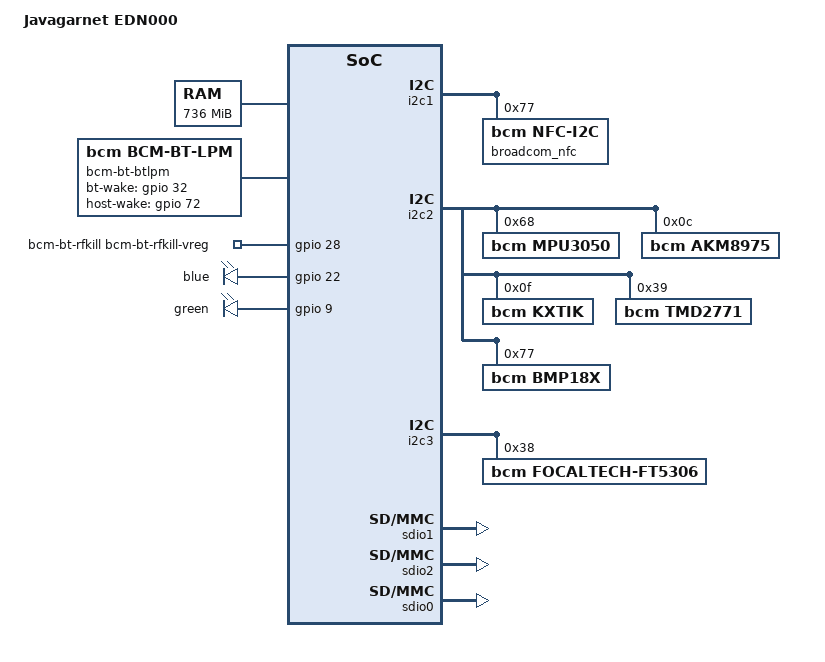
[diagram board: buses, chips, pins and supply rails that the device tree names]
/* Java_garet_edn000 Dts file */

/dts-v1/;

/include/ "java.dtsi"
/include/ "java_garnet_bcmpmu_edn000.dtsi"

/ {
	model = "Javagarnet EDN000";
	compatible = "bcm,java";

	chosen {
		bootargs = "console=ttyS0,115200n8 mem=992M gpt androidboot.console=ttyS0 crash_ramdump=1 logbuf_nocache=1";
	};

	memory@82000000 {
		device_type = "memory";
		reg = <0x82000000 0x2e000000>; /* 736 MB */
	};

	wd-tapper {
		count = <300>; /* Time in seconds */
		ch-num = <1>; /* Kona hub timer Channel number */
		timer-name = "aon-timer";
	};

	usb-phy@0x3F130000 {
		interrupts = <0 128 0x04>;
		chipreg-virtual-mem-base = <0x35004000>;
		usb-ahb-clk-name = "usb_otg_clk";
		mdio-mstr-clk-name = "mdiomaster";
	};
	usb-hsotgctrl@0x3F130000 {
		chipreg-virtual-mem-base = <0x35004000>;
		usb-ahb-clk-name = "usb_otg_clk";
		mdio-mstr-clk-name = "mdiomaster";
	};


	uart@3e000000 {
		clock-frequency = <26000000>;
		port-name = "console";
		clk-name = "uartb_clk";
	};

	uart@3e001000 {
		clock-frequency = <48000000>;
		port-name = "bluetooth";
		clk-name = "uartb2_clk";
	};

	uart@3e002000 {
		clock-frequency = <26000000>;
		port-name = "gps";
		clk-name = "uartb3_clk";
		/*If power-save-enable is set Change
		* PADCTRL_UBRTSN from UART3_RTSN to
		* UBRTSN (Debug UART) when GPS is inactive.*/
		power-save-enable = <1>;

	};

	i2c0: i2c@3e016000 {
		speed = <5>; /* BSC_BUS_SPEED_400 K */
		dynamic-speed = <1>;
		bsc-clk = "bsc1_clk";
		bsc-apb-clk = "bsc1_apb_clk";
		retries = <1>;
		is-pmu-i2c = <0>;
		fs-ref-frequency = <13000000>;
		hs-ref-frequency = <104000000>;
	};

	i2c1: i2c@3e017000 {
		speed = <5>; /* BSC_BUS_SPEED_400 K */
		dynamic-speed = <1>;
		bsc-clk = "bsc2_clk";
		bsc-apb-clk = "bsc2_apb_clk";
		retries = <3>;
		is-pmu-i2c = <0>;
		fs-ref-frequency = <13000000>;
		hs-ref-frequency = <104000000>;

		broadcom_nfc@77 {
			compatible = "bcm,nfc-i2c";
			reg = <0x77>;
			wake_gpio = <25>;
			en_gpio = <100>;
			irq_gpio = <90>;
			enable_txfifo = <1>;
			enable_rxfifo = <1>;
		};

	};

	i2c2: i2c@3e018000 {
		speed = <5>; /* BSC_BUS_SPEED_400 K */
		dynamic-speed = <1>;
		bsc-clk = "bsc3_clk";
		bsc-apb-clk = "bsc3_apb_clk";
		retries = <1>;
		is-pmu-i2c = <0>;
		fs-ref-frequency = <13000000>;
		hs-ref-frequency = <104000000>;
		mpu3050@68 {
			compatible = "bcm,mpu3050";
			reg = <0x68>;
			gpio-irq-pin = <33>;
			int-config = <0x10>;
			level-shifter = <0>;
			orientation = <0 0xFFFFFFFF 0
					0xFFFFFFFF 0 0
					0 0 0xFFFFFFFF>;
		};
		akm8975@0c {
			compatible = "bcm,akm8975";
			reg = <0x0c>;
			gpio-irq-pin = <4>;
			layout = <6>;
		};

		kxtik@0f {
                        compatible = "bcm,kxtik";
                        reg = <0x0f>;
                        gpio-irq-pin = <0>;
                        min_interval = <5>;
                        poll_interval = <200>;
                        axis_map_x = <0>;
                        axis_map_y = <1>;
                        axis_map_z = <2>;
                        negate_x = <1>;
                        negate_y = <0>;
                        negate_z = <1>;
                        res_12bit = <64>;
                        g_range = <0>;
                };

		tmd2771@39 {
			compatible = "bcm,tmd2771";
			reg = <0x39>;
			gpio-irq-pin = <89>;
			calibrate_target_param = <300000>;
			als_time_param = <200>;
			scale_factor_param = <1>;
			gain_trim_param = <512>;
			filter_history_param = <3>;
			filter_count_param = <1>;
			gain_param = <2>;
			prox_threshold_hi_param = <646>;
			prox_threshold_lo_param = <638>;
			als_threshold_hi_param = <1>;
			als_threshold_lo_param = <0>;
			prox_int_time_param = <238>;
			prox_adc_time_param = <255>;
			prox_wait_time_param = <238>;
			prox_intr_filter_param = <17>;
			prox_config_param = <0>;
			prox_pulse_cnt_param = <96>;
			prox_gain_param = <34>;
			prox_win_sw = <100>;
		};

		bmp18x@77 {
                         compatible = "bcm,bmp18x";
                         reg = <0x77>;
			 regulator-name = "cam2";
		};
	};

	i2c3: i2c@3e01c000 {
		speed = <5>; /* BSC_BUS_SPEED_400 K */
		dynamic-speed = <1>;
		bsc-clk = "bsc4_clk";
		bsc-apb-clk = "bsc4_apb_clk";
		retries = <1>;
		is-pmu-i2c = <0>;
		fs-ref-frequency = <13000000>;
		hs-ref-frequency = <104000000>;

		FocalTech-Ft5306@46 {
			compatible = "bcm,FocalTech-Ft5306";
			reg = <0x38>;
			gpio-irq-pin = <73>;
			gpio-reset-pin = <70>;
			gpio-wakeup-pin = <70>;
			x-max-value = <720>;
			y-max-value = <1280>;
			use-irq = <1>;
			power = "camldo2";
		};
	};

	i2c4: i2c@3500d000 {
		speed = <7>; /* BSC_BUS_SPEED_HS */
		dynamic-speed = <0>;
		bsc-clk = "pmu_bsc_clk";
		bsc-apb-clk = "pmu_bsc_apb";
		retries = <5>;
		is-pmu-i2c = <1>;
		fs-ref-frequency = <13000000>;
		hs-ref-frequency = <26000000>;
	};

        bcm-bt-btlpm {
                compatible = "bcm,bcm-bt-lpm";
                bt-wake-gpio = <&gpio 32 0>;
                host-wake-gpio = <&gpio 72 0>;
        };

        bcm-bt-rfkill {
                compatible = "bcm,bcm-bt-rfkill";
                bcm-bt-rfkill-vreg-gpio = <&gpio 28 0>;
        };

	iommu_mm: iommu-mm {
		compatible = "bcm,iommu-m4u";
		iova_begin  = <0x80000000>;
		iova_size   = <0x80000000>;
		errbuf_size = <0x00001000>;
		skip_enable = <1>;
	};

	iovmm_mm: iovmm-mm {
		compatible = "bcm,iovmm";
		base = <0x80000000>;
		size = <0x30000000>;
		order = <0>;
	};

	iovmm_mm_hwwr: iovmm-mm-hwwr {
		compatible = "bcm,iovmm";
		base = <0xb0000000>;
		size = <0x40000000>;
		order = <0>;
	};

	iovmm_mm_256mb: iovmm-mm-256mb {
		compatible = "bcm,iovmm";
		base = <0xf0000000>;
		size = <0x0ff00000>;
		order = <0>;
	};

	ion-config {
		compatible = "bcm,ion-config";
		/* Workaround: Use a separate iova pool for hwwr buffers */
		mask_hwwr = <0x4>;
		mask_256M = <0x221>;
	};

	ion-system {
		compatible = "bcm,ion";
		id = <0>;
		type = <0>;
		iommu = <&iommu_mm>;
		iovmm = <&iovmm_mm_256mb>;
	};

	ion-system-extra {
		compatible = "bcm,ion";
		id = <1>;
		type = <0>;
		iommu = <&iommu_mm>;
		iovmm = <&iovmm_mm>;
	};

	ion-system-hwwr {
		compatible = "bcm,ion";
		id = <2>;
		type = <0>;
		iommu = <&iommu_mm>;
		iovmm = <&iovmm_mm_hwwr>;
	};

	ion-carveout {
		compatible = "bcm,ion";
		id = <9>;
		type = <2>;
		base  = <0x90000000>;
		limit = <0xa0000000>;
		size  = <0x01000000>;
		lmk_enable = <0>;
		lmk_min_score_adj = <411>;
		lmk_min_free = <32>;
		iommu = <&iommu_mm>;
		iovmm = <&iovmm_mm_256mb>;
	};

	ion-cma {
		compatible = "bcm,ion";
		id = <5>;
		type = <4>;
		base  = <0x90000000>;
		limit = <0xa0000000>;
		size  = <0x00000000>;
		lmk_enable = <1>;
		lmk_min_score_adj = <411>;
		lmk_min_free = <32>;
		iommu = <&iommu_mm>;
		iovmm = <&iovmm_mm_256mb>;
	};

	kona-fb {
		module-name = "NT35512";
		reg-name = "cam2";
		rst-gpio = <8>;
		detect-gpio = <10>;
		detect-gpio-val = <0>;
		rst-setup = <700>;	/* 700us */
		rst-pulse = <1000>;	/* 1ms */
		rst-hold = <100000>;	/* 100ms */
		col-mod-i = <3>;
		col-mod-o = <2>;
		width = <480>;
		height = <854>;
		/* rst-active-high */	/* Commented => Active Low */
		vmode;
		/* vburst */	/* Non-burst mode */
		/* te-ctrl; */		/* Tearing Effect Control disabled */
		fps = <60>;
		lanes = <2>;
		cmnd-LP;		/* Commands in LP mode*/
		hs-bitrate = <333000000>;
		lp-bitrate = <8000000>;	/* 8mbps */
		desense-offset = <2400000>;  /* +2.4Mbps */
		iommu = <&iommu_mm>;
		iovmm = <&iovmm_mm>;
		rotation = <180>;
	};

	kona-fb-2 {
		module-name = "OTM8018B";
		reg-name = "cam2";
		rst-gpio = <8>;
		detect-gpio = <10>;
		detect-gpio-val = <1>;
		rst-setup = <700>;	/* 700us */
		rst-pulse = <1000>;	/* 1ms */
		rst-hold = <100000>;	/* 100ms */
		col-mod-i = <3>;
		col-mod-o = <2>;
		width = <480>;
		height = <854>;
		/* rst-active-high */	/* Commented => Active Low */
		vmode;
		/* vburst */		/* Non-burst mode */
		/* te-ctrl; */		/* Tearing Effect Control disabled */
		fps = <60>;
		lanes = <2>;
		cmnd-LP;		/* Commands in LP mode*/
		hs-bitrate = <333000000>;
		lp-bitrate = <8000000>;	/* 8mbps */
		desense-offset = <2400000>;  /* +2.4Mbps */
		iommu = <&iommu_mm>;
		iovmm = <&iovmm_mm>;
		rotation = <180>;
	};

	kona-fb-3 {
		module-name = "OTM1281A";
		reg-name = "cam2";
		rst-gpio = <8>;
		detect-gpio = <10>;
		detect-gpio-val = <0>;
		rst-setup = <5>;	/* 5us */
		rst-pulse = <20>;	/* 20us */
		rst-hold = <20000>;	/* 20ms */
		/* rst-active-high */	/* Commented => Active Low */
		vmode;		/* Commented => Command mode */
		/* vburst = <0>; */	/* Non-burst mode */
		cmnd-LP;		/* Commands in LP mode*/
		/* te-ctrl; */		/* Tearing Effect Control disabled */
		col-mod-i = <3>;
		col-mod-o = <2>;
		width = <720>;
		height = <1280>;
		fps = <60>;
		lanes = <4>;
		hs-bitrate = <400000000>;
		lp-bitrate = <5000000>;	/* 5mbps */
		iommu = <&iommu_mm>;
		iovmm = <&iovmm_mm>;
		rotation = <180>;
	};

	tmon@0x34008000 {
		compatible = "bcm,tmon";
		reg = <0x34008000 0x1000>;
		interrupts = <0 183 4>;
		chipreg_addr = <0x35004000 0x1000>;
		thold_size = <8>; /*number of threshold levels*/
		poll_rate_ms = <30000>;
		hysteresis = <0>;
		flags = <5>;
		interval_ms = <8>;
		/*sw shdwn temp is 120*/
		thold = <55 1
			58 1
			63 1
			65 1
			70 1
			80 1
			115 4
			120 2>;
		tmon_apb_clk = "tmon_apb";
		tmon_1m_clk = "tmon_1m_clk";
		falling = <5>; /*fall back temperature offset*/
	};

    tmon-thermal@0x34008000 {
        compatible = "bcm,tmon-thermal";
        reg  = <0x34008000 0x1000>, <0x35004000 0x1000>;
        interrupts = <0 183 4>;
        hysteresis = <0>;
        flags = <5>;
        interval_ms = <5>;
        poll_rate_ms = <30000>;
        tmon_apb_clk = "tmon_apb";
        tmon_1m_clk = "tmon_1m_clk";
        falling = <5>; /*fall back temperature offset*/
        shutdown_temp = <120>;

		trip0 {
			type = "active";
			temp = <75>;
			max_freq = <1200000>;
		};
		trip1 {
			type = "active";
			temp = <85>;
			max_freq = <800000>;
		};
		trip2 {
			type = "active";
			temp = <95>;
			max_freq = <600000>;
		};
		trip3 {
			type = "active";
			temp = <105>;
			max_freq = <312000>;
		};
		trip4 {
			type = "critical";
			temp = <115>;
			max_freq = <0>;
		};
    };

	memc@35008000 {
		compatible = "bcm,memc";
		reg = <0x35008000 0x1000>;
		interrupts = <0 61 4>;
		flags = <0xF3>;
		chipreg_base = <0x35004000 0x1000>;
		memc0_aphy_base = <0x35008400 0x1000>;
		seq_busy_val = <2>;
		max_pwr = <3>;
		temp_period = <0xA09E6C>; /*400ms*/
		temp_tholds = <7 1>;
		num_thold = <1>;
		pll_freq = <0 0 0 0
				0x3D 0 1 0
				0x50 0 1 0>;
	};

	sdio1 {
		compatible = "bcm,sdhci";
		reg = <0x3F190000 10000>;
		interrupts = <0 76 0x04>;
		id = <1>;
		data-pullup = <0>;
		is-8bit = <1>;
		devtype = <2>;		/*SDIO_DEV_TYPE_EMMC*/
		flags = <1>;		/*KONA_SDIO_FLAGS_DEVICE_NON_REMOVABLE*/
		peri-clk-name = "sdio2_clk";
		ahb-clk-name = "sdio2_ahb_clk";
		sleep-clk-name = "sdio2_sleep_clk";
		peri-clk-rate = <52000000>;
		vddsdmmc-regulator-name = "cam1";
	};

	sdio2 {
		compatible = "bcm,sdhci";
		reg = <0x3F1A0000 10000>;
		interrupts = <0 74 0x04>;
		id = <2>;
		data-pullup = <0>;
		devtype = <1>;		/*SDIO_DEV_TYPE_WIFI*/
		flags = <0>;		/*KONA_SDIO_FLAGS_DEVICE_REMOVABLE*/
		peri-clk-name = "sdio3_clk";
		ahb-clk-name = "sdio3_ahb_clk";
		sleep-clk-name = "sdio3_sleep_clk";
		peri-clk-rate = <48000000>;
	};

	sdio0 {
		compatible = "bcm,sdhci";
		reg = <0x3F180000 10000>;
		interrupts = <0 77 0x04>;
		id = <0>;
		data-pullup = <0>;
		cd-gpio = <91>;		/*SD_CARDDET_GPIO_PIN*/
		devtype = <0>;		/*SDIO_DEV_TYPE_SDMMC*/
		flags = <0>;		/*KONA_SDIO_FLAGS_DEVICE_REMOVABLE*/
		peri-clk-name = "sdio1_clk";
		ahb-clk-name = "sdio1_ahb_clk";
		sleep-clk-name = "sdio1_sleep_clk";
		peri-clk-rate = <48000000>;
		vddo-regulator-name = "vdd_sdio";
		vddsdxc-regulator-name = "vdd_sdxc";
	};

	timer {
		compatible = "arm,armv7-timer";
		interrupts = <1 13 0xf08>,
					<1 14 0xf08>;
	};

	wifi-driver {
		compatible = "bcm,bcm_wifi";
		wl-reset-gpio = <3>;
		host-wake-gpio = <74>;
		board-nvram-file = "/system/vendor/firmware/fw_wifi_nvram_4330.txt";
		module-name = "bcmdhd_4330";
	};

	keypad {
		row-num = <2>;
		col-num = <3>;
		row-col-count = <8>;
		key-name = "Vol Down Key", "Vol Up Key", "unused", "unused",
			"unused", "unused", "unused", "unused", "Camera Focus Key",
			"Camera Key", "unused", "unused", "unused", "unused",
			"unused", "unused", "unused", "unused", "unused",
			"unused", "unused", "unused", "unused", "unused",
			"unused", "unused", "unused", "unused", "unused",
			"unused", "unused", "unused", "unused", "unused",
			"unused", "unused", "unused", "unused", "unused",
			"unused", "unused", "unused", "unused", "unused",
			"unused", "unused", "unused", "unused", "unused",
			"unused", "unused", "unused", "unused", "unused",
			"unused", "unused", "unused", "unused", "unused",
			"unused", "unused", "unused", "unused", "unused";
		key-code = <114 115 0 0 0 0 0 0
			528 212 0 0 0 0 0 0
			0 0 0 0 0 0 0 0
			0 0 0 0 0 0 0 0
			0 0 0 0 0 0 0 0
			0 0 0 0 0 0 0 0
			0 0 0 0 0 0 0 0
			0 0 0 0 0 0 0 0>;
	};

	pwm-backlight {
		compatible = "bcm,pwm-backlight";
		reg = <0x0 0x0>;
		pwm-id = <2>;
		max-brightness = <32>;	/* Android calibrates to 32 levels */
		dft-brightness = <32>;
		polarity = <1>;		/* Inverted polarity */
		pwm-period-ns = <99900>; /* ~10010 Hz */
		temp_comp_size = <3>;
		temp_comp_tbl = <55 20
				63 18
				70 15>;
		pwm-request-label = "backlight";
		bl-on-delay = <7000>;
		pwm_pin_name = <39>;	/*GPIO24, enum PIN_NAME defined in chip_pinmux.h*/
		pwm_pin_reboot_func = <25>;	/*GPIO24, enum PIN_FUNC defined in chip_pinmux.h*/
	};

	gpio-leds {
		compatible = "gpio-leds";

		blue {
			label = "blue";
			gpios = <&gpio 22 0>;
		};

		green {
			label = "green";
			gpios = <&gpio 9 0>;
		};
	};

	secure_mem {
		sec-mem-base = <0x9d800000>;
		sec-mem-size = <0x100000>;
	};

	secure_watchdog {
		compatible = "bcm,secure_watchdog";
	};
};
